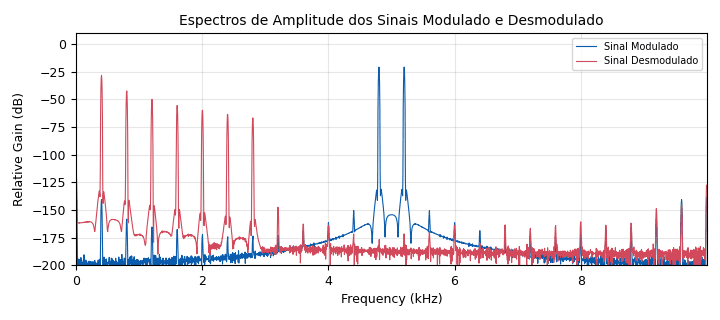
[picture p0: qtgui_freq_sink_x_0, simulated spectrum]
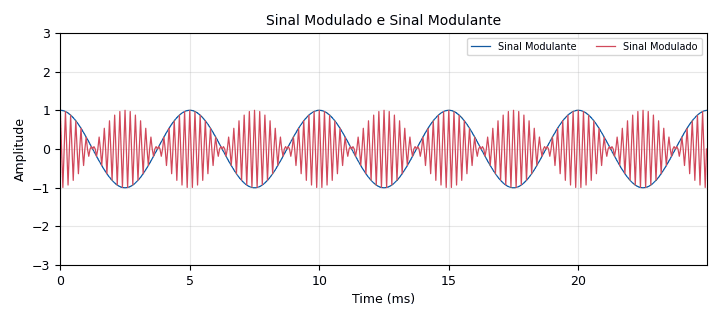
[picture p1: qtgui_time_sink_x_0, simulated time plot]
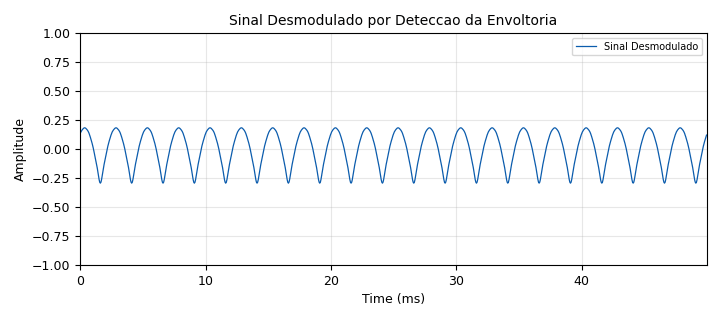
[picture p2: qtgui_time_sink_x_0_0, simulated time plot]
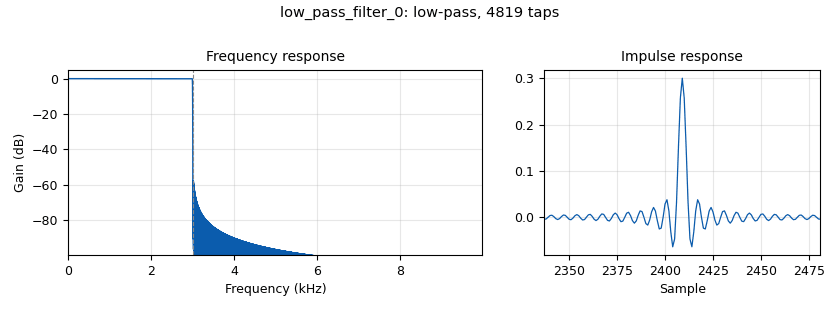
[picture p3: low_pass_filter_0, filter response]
options:
  parameters:
    category: Custom
    generate_options: qt_gui
    id: Labo3_3
    output_language: python
    title: Detecção de envoltória de AM-DSB
  states: {}

blocks:
- name: A
  id: variable_qtgui_range
  parameters:
    gui_hint: 1,1,1,1
    label: Amplitude da Portadora
    start: '0'
    step: '0.1'
    stop: '3'
    value: '0'
  states: {}
- name: samp_rate
  id: variable
  parameters:
    value: '20000'
  states: {}
- name: Amplitude_Portadora
  id: analog_const_source_x
  parameters:
    const: A
    type: float
  states: {}
- name: Portadora
  id: analog_sig_source_x
  parameters:
    amp: '1'
    freq: '5000'
    offset: '0'
    phase: '0'
    samp_rate: samp_rate
    type: float
    waveform: analog.GR_COS_WAVE
  states: {}
- name: Sinal_Modulante
  id: analog_sig_source_x
  parameters:
    amp: '1'
    freq: '200'
    offset: '0'
    phase: '0'
    samp_rate: samp_rate
    type: float
    waveform: analog.GR_COS_WAVE
  states: {}
- name: blocks_abs_xx_0
  id: blocks_abs_xx
  parameters:
    type: float
  states: {}
- name: blocks_add_xx_0
  id: blocks_add_xx
  parameters:
    type: float
  states: {}
- name: blocks_multiply_xx_0
  id: blocks_multiply_xx
  parameters:
    type: float
  states: {}
- name: blocks_throttle_0
  id: blocks_throttle
  parameters:
    samples_per_second: samp_rate
    type: float
  states: {}
- name: dc_blocker_xx_0_0
  id: dc_blocker_xx
  parameters:
    length: '1200'
    long_form: 'True'
    type: ff
  states: {}
- name: low_pass_filter_0
  id: low_pass_filter
  parameters:
    cutoff_freq: '3000'
    decim: '1'
    gain: '1'
    samp_rate: samp_rate
    type: fir_filter_fff
    width: '10'
    win: window.WIN_HAMMING
  states: {}
- name: qtgui_freq_sink_x_0
  id: qtgui_freq_sink_x
  parameters:
    bw: samp_rate
    fc: '0'
    fftsize: '4096'
    freqhalf: 'False'
    grid: 'True'
    gui_hint: 0,1,1,1
    label1: Sinal Modulado
    label2: Sinal Desmodulado
    name: Espectros de Amplitude dos Sinais Modulado e Desmodulado
    nconnections: '2'
    showports: 'True'
    type: float
    ymin: '-200'
  states: {}
- name: qtgui_time_sink_x_0
  id: qtgui_time_sink_x
  parameters:
    grid: 'True'
    gui_hint: 0,0,1,1
    label1: Sinal Modulante
    label2: Sinal Modulado
    name: Sinal Modulado e Sinal Modulante
    nconnections: '2'
    size: '500'
    srate: samp_rate
    tr_level: '1'
    type: float
    ymax: '3'
    ymin: '-3'
  states: {}
- name: qtgui_time_sink_x_0_0
  id: qtgui_time_sink_x
  parameters:
    grid: 'True'
    gui_hint: 1,0,1,1
    label1: Sinal Desmodulado
    name: Sinal Desmodulado por Deteccao da Envoltoria
    size: '1000'
    srate: samp_rate
    tr_level: '1'
    type: float
  states: {}

connections:
- [Amplitude_Portadora, '0', blocks_add_xx_0, '1']
- [Portadora, '0', blocks_throttle_0, '0']
- [Sinal_Modulante, '0', blocks_add_xx_0, '0']
- [Sinal_Modulante, '0', qtgui_time_sink_x_0, '0']
- [blocks_abs_xx_0, '0', low_pass_filter_0, '0']
- [blocks_add_xx_0, '0', blocks_multiply_xx_0, '0']
- [blocks_multiply_xx_0, '0', blocks_abs_xx_0, '0']
- [blocks_multiply_xx_0, '0', qtgui_freq_sink_x_0, '0']
- [blocks_multiply_xx_0, '0', qtgui_time_sink_x_0, '1']
- [blocks_throttle_0, '0', blocks_multiply_xx_0, '1']
- [dc_blocker_xx_0_0, '0', qtgui_freq_sink_x_0, '1']
- [dc_blocker_xx_0_0, '0', qtgui_time_sink_x_0_0, '0']
- [low_pass_filter_0, '0', dc_blocker_xx_0_0, '0']

metadata:
  file_format: 1
  grc_version: 3.10.7.0
